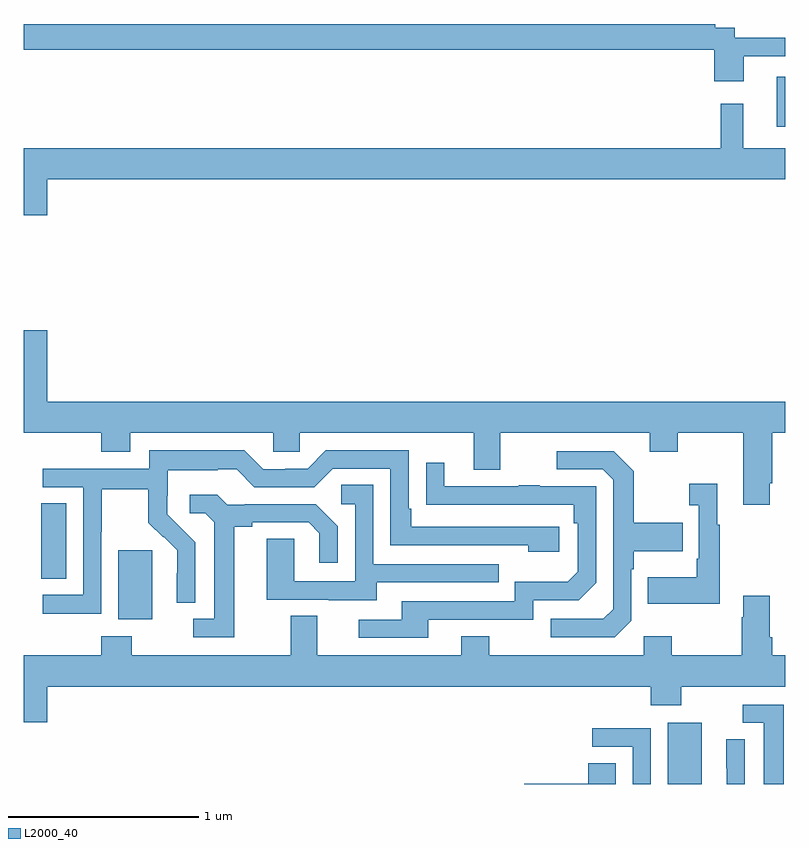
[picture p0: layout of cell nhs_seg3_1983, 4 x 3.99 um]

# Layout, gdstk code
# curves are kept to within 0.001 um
import gdstk
lib = gdstk.Library(unit=1e-6, precision=1e-09)
def R(c, l, rs):  # rectangles x0, y0, x1, y1
    for r in rs: c.add(gdstk.rectangle(r[:2], r[2:], *l))
def P(c, l, *ps):  # polygons
    for p in ps: c.add(gdstk.Polygon(p, *l))
L2000_40 = (2000, 40)

nhs_seg3_1983 = lib.new_cell('nhs_seg3_1983')
R(nhs_seg3_1983, L2000_40, [(216.383,704.4,216.562,704.722), (213.497,705.266,213.676,705.627), (213.092,705.478,213.223,705.875), (216.956,707.853,217,708.114)])
P(nhs_seg3_1983, L2000_40, [(216.781,708.222),(217,708.222),(217,708.319),(216.735,708.319),(216.735,708.372),(216.632,708.372),(216.632,708.392),(213,708.392),(213,708.256),(216.627,708.256),(216.627,708.09),(216.781,708.09)],
  [(213.124,707.576),(217,707.576),(217,707.74),(216.779,707.74),(216.779,707.974),(216.661,707.974),(216.661,707.74),(213,707.74),(213,707.388),(213.124,707.388)],
  [(213.124,706.783),(213,706.783),(213,706.244),(213.407,706.244),(213.407,706.145),(213.559,706.145),(213.559,706.244),(214.311,706.244),(214.311,706.146),(214.449,706.146),(214.449,706.244),(215.363,706.244),(215.363,706.05),(215.503,706.05),(215.503,706.244),(216.287,706.244),(216.287,706.145),(216.435,706.145),(216.435,706.244),(216.779,706.244),(216.779,705.867),(216.919,705.867),(216.919,705.979),(216.932,705.979),(216.932,706.244),(217,706.244),(217,706.408),(213.124,706.408)],
  [(213.408,705.724),(213.411,705.724),(213.411,705.948),(213.655,705.948),(213.655,705.773),(213.732,705.696),(213.735,705.699),(213.806,705.629),(213.806,705.506),(213.804,705.506),(213.804,705.352),(213.9,705.352),(213.9,705.67),(213.754,705.818),(213.754,705.915),(213.756,705.915),(213.756,706.049),(214.019,706.049),(214.019,706.053),(214.119,706.053),(214.212,705.96),(214.527,705.96),(214.623,706.056),(214.926,706.056),(214.926,705.654),(215.651,705.654),(215.651,705.62),(215.812,705.62),(215.812,705.75),(215.035,705.75),(215.035,705.847),(215.022,705.847),(215.022,706.152),(214.587,706.152),(214.491,706.056),(214.373,706.056),(214.373,706.053),(214.257,706.053),(214.157,706.153),(213.66,706.153),(213.66,706.056),(213.099,706.056),(213.099,705.96),(213.312,705.96),(213.312,705.393),(213.099,705.393),(213.099,705.295),(213.408,705.295)],
  [(216.192,705.258),(216.192,705.527),(216.205,705.527),(216.205,705.623),(216.461,705.623),(216.461,705.771),(216.205,705.771),(216.205,706.043),(216.099,706.149),(215.799,706.149),(215.799,706.053),(216.042,706.053),(216.096,705.999),(216.096,705.318),(216.045,705.267),(215.769,705.267),(215.769,705.171),(216.105,705.171)],
  [(215.125,705.264),(215.676,705.264),(215.676,705.366),(215.916,705.366),(216.006,705.456),(216.006,705.963),(215.711,705.963),(215.711,705.968),(215.599,705.968),(215.599,705.963),(215.209,705.963),(215.209,706.087),(215.113,706.087),(215.113,705.868),(215.89,705.867),(215.89,705.77),(215.91,705.77),(215.91,705.516),(215.857,705.463),(215.58,705.463),(215.58,705.36),(214.985,705.36),(214.985,705.264),(214.761,705.264),(214.761,705.168),(215.125,705.168)],
  [(216.655,705.763),(216.643,705.763),(216.643,705.976),(216.495,705.976),(216.495,705.863),(216.546,705.863),(216.546,705.583),(216.534,705.583),(216.534,705.487),(216.277,705.487),(216.277,705.347),(216.655,705.347)],
  [(214.855,705.459),(215.495,705.459),(215.495,705.555),(214.836,705.555),(214.836,705.971),(214.668,705.971),(214.668,705.87),(214.74,705.87),(214.74,705.465),(214.422,705.465),(214.422,705.689),(214.277,705.689),(214.277,705.369),(214.601,705.369),(214.601,705.365),(214.855,705.365)],
  [(214.105,705.752),(214.201,705.752),(214.201,705.774),(214.496,705.774),(214.553,705.717),(214.553,705.561),(214.65,705.561),(214.65,705.754),(214.534,705.87),(214.162,705.87),(214.162,705.867),(214.068,705.867),(214.016,705.919),(213.873,705.919),(213.873,705.822),(213.954,705.822),(214.001,705.775),(214.001,705.267),(213.891,705.267),(213.891,705.171),(214.105,705.171)],
  [(213.124,704.912),(216.293,704.912),(216.293,704.813),(216.453,704.813),(216.453,704.912),(217,704.912),(217,705.076),(216.932,705.076),(216.932,705.172),(216.919,705.172),(216.919,705.388),(216.779,705.388),(216.779,705.275),(216.772,705.275),(216.772,705.076),(216.405,705.076),(216.405,705.175),(216.258,705.175),(216.258,705.076),(215.445,705.076),(215.445,705.175),(215.297,705.175),(215.297,705.076),(214.543,705.076),(214.543,705.284),(214.403,705.284),(214.403,705.076),(213.567,705.076),(213.567,705.175),(213.407,705.175),(213.407,705.076),(213,705.076),(213,704.724),(213.124,704.724)],
  [(216.991,704.817),(216.777,704.817),(216.777,704.721),(216.887,704.721),(216.887,704.4),(216.991,704.4)],
  [(216.294,704.694),(215.985,704.694),(215.985,704.595),(216.198,704.595),(216.198,704.4),(216.294,704.4)],
  [(216.786,704.636),(216.69,704.636),(216.69,704.482),(216.692,704.482),(216.692,704.4),(216.786,704.4)],
  [(216.109,704.51),(215.966,704.51),(215.966,704.402),(215.628,704.402),(215.628,704.4),(216.109,704.4)])

lib.write_gds('nhs_seg3_1983.gds')
